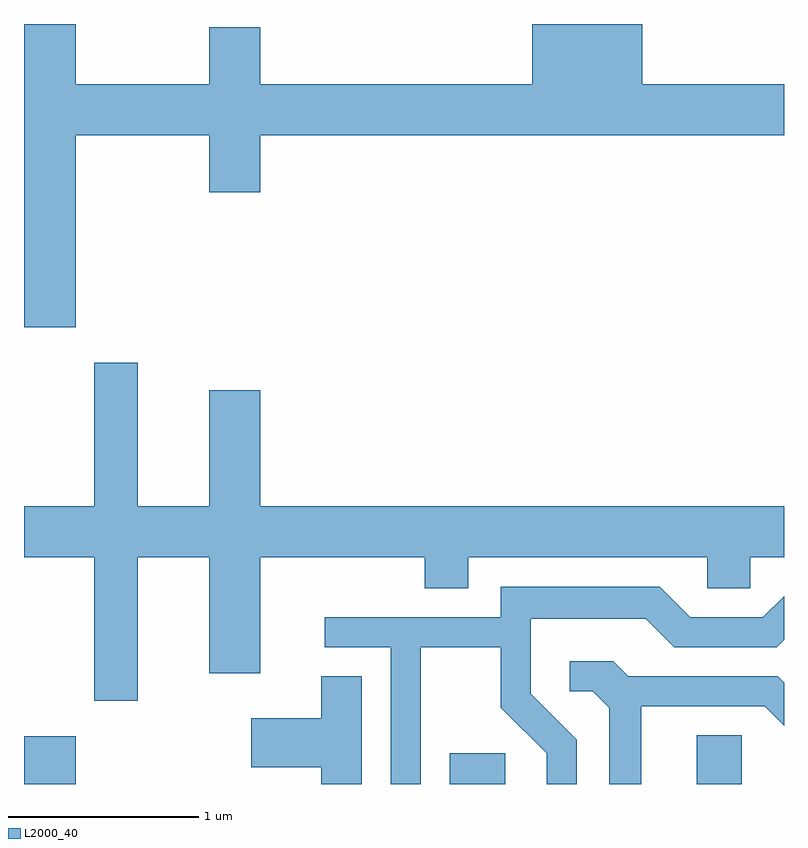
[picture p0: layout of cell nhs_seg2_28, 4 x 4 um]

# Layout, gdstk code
import gdstk
lib = gdstk.Library(unit=1e-6, precision=1e-09)
def R(c, l, rs):  # rectangles x0, y0, x1, y1
    for r in rs: c.add(gdstk.rectangle(r[:2], r[2:], *l))
def P(c, l, *ps):  # polygons
    for p in ps: c.add(gdstk.Polygon(p, *l))
L2000_40 = (2000, 40)

nhs_seg2_28 = lib.new_cell('nhs_seg2_28')
R(nhs_seg2_28, L2000_40, [(185.611,1033.802,185.884,1034.054), (187.851,1033.802,188.144,1033.964), (189.151,1033.802,189.389,1034.059)])
P(nhs_seg2_28, L2000_40, [(185.884,1037.216),(186.586,1037.216),(186.586,1036.916),(186.854,1036.916),(186.854,1037.216),(189.611,1037.216),(189.611,1037.484),(188.864,1037.484),(188.864,1037.802),(188.286,1037.802),(188.286,1037.484),(186.854,1037.484),(186.854,1037.784),(186.586,1037.784),(186.586,1037.484),(185.884,1037.484),(185.884,1037.802),(185.611,1037.802),(185.611,1036.206),(185.884,1036.206)],
  [(186.209,1034.996),(186.586,1034.996),(186.586,1034.386),(186.854,1034.386),(186.854,1034.996),(187.721,1034.996),(187.721,1034.831),(187.949,1034.831),(187.949,1034.996),(189.206,1034.996),(189.206,1034.831),(189.434,1034.831),(189.434,1034.996),(189.611,1034.996),(189.611,1035.264),(186.854,1035.264),(186.854,1035.874),(186.586,1035.874),(186.586,1035.264),(186.209,1035.264),(186.209,1036.019),(185.981,1036.019),(185.981,1035.264),(185.611,1035.264),(185.611,1034.996),(185.981,1034.996),(185.981,1034.241),(186.209,1034.241)],
  [(187.699,1034.521),(188.121,1034.521),(188.121,1034.204),(188.361,1033.964),(188.361,1033.802),(188.519,1033.802),(188.519,1034.036),(188.279,1034.277),(188.279,1034.671),(188.884,1034.671),(189.034,1034.521),(189.572,1034.521),(189.611,1034.56),(189.611,1034.791),(189.499,1034.679),(189.117,1034.679),(188.957,1034.839),(188.121,1034.839),(188.121,1034.679),(187.193,1034.679),(187.193,1034.521),(187.541,1034.521),(187.541,1033.802),(187.699,1033.802)],
  [(188.859,1034.211),(189.509,1034.211),(189.611,1034.109),(189.611,1034.335),(189.577,1034.369),(188.792,1034.369),(188.712,1034.449),(188.483,1034.449),(188.483,1034.291),(188.604,1034.291),(188.691,1034.204),(188.691,1033.802),(188.859,1033.802)],
  [(187.389,1034.369),(187.176,1034.369),(187.176,1034.149),(186.806,1034.149),(186.806,1033.891),(187.176,1033.891),(187.176,1033.802),(187.389,1033.802)])

lib.write_gds('nhs_seg2_28.gds')
